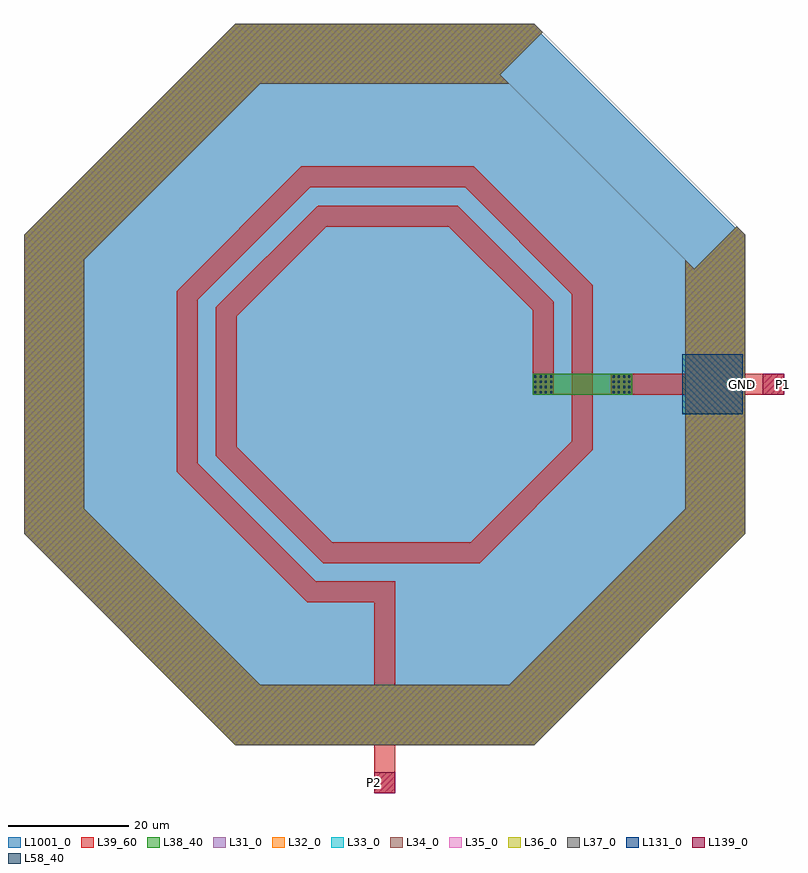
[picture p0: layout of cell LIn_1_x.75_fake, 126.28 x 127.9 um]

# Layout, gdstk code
import gdstk
lib = gdstk.Library(unit=1e-6, precision=1e-09)
def R(c, l, rs):  # rectangles x0, y0, x1, y1
    for r in rs: c.add(gdstk.rectangle(r[:2], r[2:], *l))
def A(c, l, x, y, w, h, nx, ny, dx, dy):  # array of equal rectangles
    R(c, l, [(x+i*dx, y+j*dy, x+i*dx+w, y+j*dy+h) for i in range(nx) for j in range(ny)])
def P(c, l, *ps):  # polygons
    for p in ps: c.add(gdstk.Polygon(p, *l))
L31_0 = (31, 0)
L32_0 = (32, 0)
L33_0 = (33, 0)
L34_0 = (34, 0)
L35_0 = (35, 0)
L36_0 = (36, 0)
L37_0 = (37, 0)
L38_40 = (38, 40)
L39_60 = (39, 60)
L58_40 = (58, 40)
L131_0 = (131, 0)
L139_0 = (139, 0)
L1001_0 = (1001, 0)

lin_1_x_75_fake = lib.new_cell('LIn_1_x.75_fake')
P(lin_1_x_75_fake, L31_0, [(51.402,19.22),(58.473,26.291),(24.827,59.937),(-24.827,59.937),(-59.937,24.827),(-59.937,-24.827),(-24.827,-59.937),(24.827,-59.937),(59.937,-24.827),(59.937,24.827),(26.291,58.473),(19.22,51.402),(49.937,20.685),(49.937,-20.685),(20.685,-49.937),(-20.685,-49.937),(-49.937,-20.685),(-49.937,20.685),(-20.685,49.937),(20.685,49.937)])
P(lin_1_x_75_fake, L32_0, [(51.402,19.22),(58.473,26.291),(24.827,59.937),(-24.827,59.937),(-59.937,24.827),(-59.937,-24.827),(-24.827,-59.937),(24.827,-59.937),(59.937,-24.827),(59.937,24.827),(26.291,58.473),(19.22,51.402),(49.937,20.685),(49.937,-20.685),(20.685,-49.937),(-20.685,-49.937),(-49.937,-20.685),(-49.937,20.685),(-20.685,49.937),(20.685,49.937)])
P(lin_1_x_75_fake, L33_0, [(51.402,19.22),(58.473,26.291),(24.827,59.937),(-24.827,59.937),(-59.937,24.827),(-59.937,-24.827),(-24.827,-59.937),(24.827,-59.937),(59.937,-24.827),(59.937,24.827),(26.291,58.473),(19.22,51.402),(49.937,20.685),(49.937,-20.685),(20.685,-49.937),(-20.685,-49.937),(-49.937,-20.685),(-49.937,20.685),(-20.685,49.937),(20.685,49.937)])
P(lin_1_x_75_fake, L34_0, [(51.402,19.22),(58.473,26.291),(24.827,59.937),(-24.827,59.937),(-59.937,24.827),(-59.937,-24.827),(-24.827,-59.937),(24.827,-59.937),(59.937,-24.827),(59.937,24.827),(26.291,58.473),(19.22,51.402),(49.937,20.685),(49.937,-20.685),(20.685,-49.937),(-20.685,-49.937),(-49.937,-20.685),(-49.937,20.685),(-20.685,49.937),(20.685,49.937)])
P(lin_1_x_75_fake, L35_0, [(51.402,19.22),(58.473,26.291),(24.827,59.937),(-24.827,59.937),(-59.937,24.827),(-59.937,-24.827),(-24.827,-59.937),(24.827,-59.937),(59.937,-24.827),(59.937,24.827),(26.291,58.473),(19.22,51.402),(49.937,20.685),(49.937,-20.685),(20.685,-49.937),(-20.685,-49.937),(-49.937,-20.685),(-49.937,20.685),(-20.685,49.937),(20.685,49.937)])
P(lin_1_x_75_fake, L36_0, [(51.402,19.22),(58.473,26.291),(24.827,59.937),(-24.827,59.937),(-59.937,24.827),(-59.937,-24.827),(-24.827,-59.937),(24.827,-59.937),(59.937,-24.827),(59.937,24.827),(26.291,58.473),(19.22,51.402),(49.937,20.685),(49.937,-20.685),(20.685,-49.937),(-20.685,-49.937),(-49.937,-20.685),(-49.937,20.685),(-20.685,49.937),(20.685,49.937)])
P(lin_1_x_75_fake, L37_0, [(51.402,19.22),(58.473,26.291),(24.827,59.937),(-24.827,59.937),(-59.937,24.827),(-59.937,-24.827),(-24.827,-59.937),(24.827,-59.937),(59.937,-24.827),(59.937,24.827),(26.291,58.473),(19.22,51.402),(49.937,20.685),(49.937,-20.685),(20.685,-49.937),(-20.685,-49.937),(-49.937,-20.685),(-49.937,20.685),(-20.685,49.937),(20.685,49.937)])
R(lin_1_x_75_fake, L38_40, [(24.59,-1.75,41.09,1.75)])
P(lin_1_x_75_fake, L38_40, [(51.402,19.22),(58.473,26.291),(24.827,59.937),(-24.827,59.937),(-59.937,24.827),(-59.937,-24.827),(-24.827,-59.937),(24.827,-59.937),(59.937,-24.827),(59.937,24.827),(26.291,58.473),(19.22,51.402),(49.937,20.685),(49.937,-20.685),(20.685,-49.937),(-20.685,-49.937),(-49.937,-20.685),(-49.937,20.685),(-20.685,49.937),(20.685,49.937)])
R(lin_1_x_75_fake, L39_60, [(-1.75,-67.965,1.75,-32.715), (37.59,-1.75,66.34,1.75)])
P(lin_1_x_75_fake, L39_60, [(24.59,-1.75),(28.09,-1.75),(28.09,13.735),(12.11,29.715),(-11.16,29.715),(-28.09,12.785),(-28.09,-11.83),(-10.205,-29.715),(15.755,-29.715),(34.59,-10.88),(34.59,16.43),(14.805,36.215),(-13.85,36.215),(-34.59,15.475),(-34.59,-14.525),(-12.9,-36.215),(0,-36.215),(0,-32.715),(-11.45,-32.715),(-31.09,-13.075),(-31.09,14.025),(-12.4,32.715),(13.355,32.715),(31.09,14.98),(31.09,-9.43),(14.305,-26.215),(-8.755,-26.215),(-24.59,-10.38),(-24.59,11.335),(-9.71,26.215),(10.66,26.215),(24.59,12.285)],
  [(51.402,19.22),(58.473,26.291),(24.827,59.937),(-24.827,59.937),(-59.937,24.827),(-59.937,-24.827),(-24.827,-59.937),(24.827,-59.937),(59.937,-24.827),(59.937,24.827),(26.291,58.473),(19.22,51.402),(49.937,20.685),(49.937,-20.685),(20.685,-49.937),(-20.685,-49.937),(-49.937,-20.685),(-49.937,20.685),(-20.685,49.937),(20.685,49.937)])
A(lin_1_x_75_fake, L58_40, 24.859, -1.48, 0.35, 0.35, 4, 4, 0.87, 0.87)
A(lin_1_x_75_fake, L58_40, 37.859, -1.48, 0.35, 0.35, 4, 4, 0.87, 0.87)
R(lin_1_x_75_fake, L131_0, [(49.465,-5,59.465,5)])
R(lin_1_x_75_fake, L139_0, [(-1.75,-67.965,1.75,-64.465), (62.84,-1.75,66.34,1.75)])
P(lin_1_x_75_fake, L1001_0, [(59.557,24.669),(24.669,59.557),(-24.669,59.557),(-59.557,24.669),(-59.557,-24.669),(-24.669,-59.557),(24.669,-59.557),(59.557,-24.669)],
  [(59.557,24.669),(24.669,59.557),(-24.669,59.557),(-59.557,24.669),(-59.557,-24.669),(-24.669,-59.557),(24.669,-59.557),(59.557,-24.669)],
  [(59.557,24.669),(24.669,59.557),(-24.669,59.557),(-59.557,24.669),(-59.557,-24.669),(-24.669,-59.557),(24.669,-59.557),(59.557,-24.669)],
  [(59.557,24.669),(24.669,59.557),(-24.669,59.557),(-59.557,24.669),(-59.557,-24.669),(-24.669,-59.557),(24.669,-59.557),(59.557,-24.669)],
  [(59.557,24.669),(24.669,59.557),(-24.669,59.557),(-59.557,24.669),(-59.557,-24.669),(-24.669,-59.557),(24.669,-59.557),(59.557,-24.669)],
  [(59.557,24.669),(24.669,59.557),(-24.669,59.557),(-59.557,24.669),(-59.557,-24.669),(-24.669,-59.557),(24.669,-59.557),(59.557,-24.669)],
  [(59.557,24.669),(24.669,59.557),(-24.669,59.557),(-59.557,24.669),(-59.557,-24.669),(-24.669,-59.557),(24.669,-59.557),(59.557,-24.669)],
  [(59.557,24.669),(24.669,59.557),(-24.669,59.557),(-59.557,24.669),(-59.557,-24.669),(-24.669,-59.557),(24.669,-59.557),(59.557,-24.669)],
  [(59.557,24.669),(24.669,59.557),(-24.669,59.557),(-59.557,24.669),(-59.557,-24.669),(-24.669,-59.557),(24.669,-59.557),(59.557,-24.669)])
lin_1_x_75_fake.add(gdstk.Label('P1', (66.339,0), layer=139, texttype=0))
lin_1_x_75_fake.add(gdstk.Label('P2', (-1.75,-66.214), layer=139, texttype=0))
lin_1_x_75_fake.add(gdstk.Label('GND', (59.464,0), layer=131, texttype=0))

lib.write_gds('LIn_1_x.75_fake.gds')
